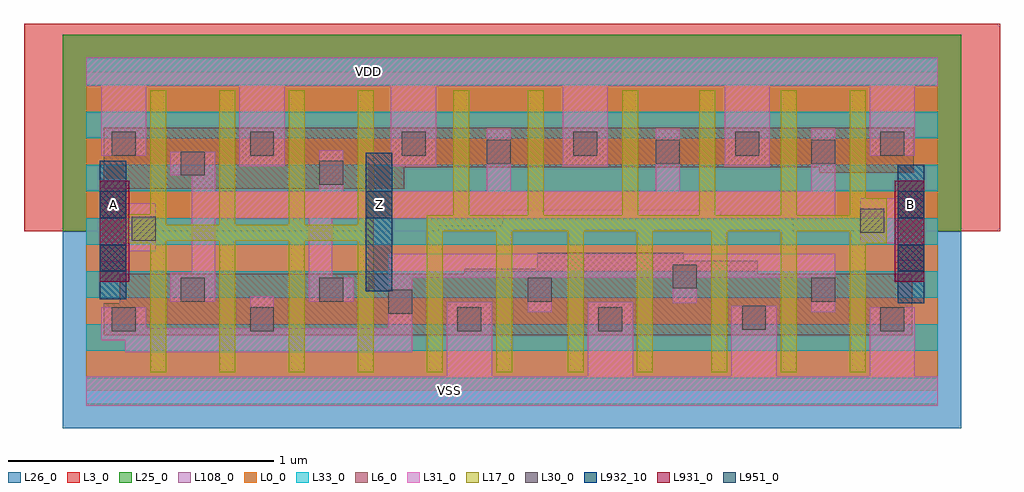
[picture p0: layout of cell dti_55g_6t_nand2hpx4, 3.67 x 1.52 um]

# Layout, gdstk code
from math import pi, radians
import gdstk
lib = gdstk.Library(unit=1e-6, precision=1e-09)
def R(c, l, rs):  # rectangles x0, y0, x1, y1
    for r in rs: c.add(gdstk.rectangle(r[:2], r[2:], *l))
def P(c, l, *ps):  # polygons
    for p in ps: c.add(gdstk.Polygon(p, *l))
L0_0 = (0, 0)
L3_0 = (3, 0)
L6_0 = (6, 0)
L17_0 = (17, 0)
L25_0 = (25, 0)
L26_0 = (26, 0)
L30_0 = (30, 0)
L31_0 = (31, 0)
L33_0 = (33, 0)
L108_0 = (108, 0)
L931_0 = (931, 0)
L932_10 = (932, 10)
L951_0 = (951, 0)
L982_1 = (982, 1)

via_std_block = lib.new_cell('via_std_block')
R(via_std_block, L951_0, [(-0.05,-0.05,0.05,0.05)])
via_std_block.add(gdstk.FlexPath([(-0.05,-0.05),(0.05,0.05)], 0, ends="flush", simple_path=True, layer=0, datatype=0))  # L0_0
via_std_block.add(gdstk.FlexPath([(0.05,-0.05),(-0.05,0.05)], 0, ends="flush", simple_path=True, layer=0, datatype=0))  # L0_0

via_std_block_edge_11 = lib.new_cell('via_std_block_edge_11')
R(via_std_block_edge_11, L931_0, [(-0.05,-0.09,0.06,0.29)])
r = gdstk.Reference(via_std_block, (0,0)); r.repetition = gdstk.Repetition(1, 2, v1=(0,0), v2=(0,0.2)); via_std_block_edge_11.add(r)

pmos_15_n_2 = lib.new_cell('pmos_15_n_2')
R(pmos_15_n_2, L3_0, [(-0.275,-0.16,0.335,0.31)])
R(pmos_15_n_2, L6_0, [(-0.115,0,0.175,0.15)])
R(pmos_15_n_2, L17_0, [(0,-0.14,0.06,0.29)])
R(pmos_15_n_2, L25_0, [(-0.245,-0.16,0.305,0.31)])

nmos_15_n_2 = lib.new_cell('nmos_15_n_2')
R(nmos_15_n_2, L6_0, [(-0.115,0,0.175,0.15)])
R(nmos_15_n_2, L17_0, [(0,-0.14,0.06,0.29)])
R(nmos_15_n_2, L26_0, [(-0.245,-0.16,0.305,0.31)])

cnt = lib.new_cell('cnt')
R(cnt, L30_0, [(-0.045,-0.045,0.045,0.045)])
R(cnt, L31_0, [(-0.045,-0.045,0.045,0.045)])

cnt_p = lib.new_cell('cnt_p')
R(cnt_p, L6_0, [(-0.06,-0.075,0.06,0.075)])
cnt_p.add(gdstk.Reference(cnt, (0,0)))

cnt_n = lib.new_cell('cnt_n')
R(cnt_n, L6_0, [(-0.06,-0.075,0.06,0.075)])
R(cnt_n, L30_0, [(-0.045,-0.045,0.045,0.045)])
R(cnt_n, L31_0, [(-0.045,-0.045,0.045,0.045)])

pcnt_h = lib.new_cell('pcnt_h')
R(pcnt_h, L17_0, [(-0.085,-0.055,0.085,0.055)])
pcnt_h.add(gdstk.Reference(cnt, (0,0), rotation=pi/2))

m2_std_block = lib.new_cell('m2_std_block')
R(m2_std_block, L932_10, [(0,0,0.1,0.52)])
m2_std_block.add(gdstk.FlexPath([(0.1,0.52),(0,0)], 0, ends="flush", simple_path=True, layer=982, datatype=1))  # L982_1
m2_std_block.add(gdstk.FlexPath([(0,0.52),(0.1,0)], 0, ends="flush", simple_path=True, layer=982, datatype=1))  # L982_1

cellgrid_withm3_updated_ = lib.new_cell('cellgrid_withM3_updated_June_13th')
R(cellgrid_withm3_updated_, L0_0, [(0,0,0.2,0.2)])
R(cellgrid_withm3_updated_, L33_0, [(0,-0.05,0.2,0.05), (0,0.15,0.2,0.25)])
cellgrid_withm3_updated_.add(gdstk.FlexPath([(0,0),(0.2,0.2),(0,0.2),(0.2,0)], 0, ends="flush", simple_path=True, layer=0, datatype=0))  # L0_0

template_6g_055_updated_ = lib.new_cell('template_6g_055_updated_June_13th')
R(template_6g_055_updated_, L31_0, [(0,-0.055,0.2,0.055), (0,1.145,0.2,1.255)])

dti_55g_6t_nand2hpx4 = lib.new_cell('dti_55g_6t_nand2hpx4')
P(dti_55g_6t_nand2hpx4, L3_0, [(-0.235,0.6),(-0.235,1.38),(3.435,1.38),(3.435,0.6),(2.655,0.6),(2.655,0.65),(2.385,0.65),(2.385,0.68),(1.565,0.68),(1.565,0.62),(1.325,0.62),(1.325,0.6)])
R(dti_55g_6t_nand2hpx4, L6_0, [(3.025,0.21,3.105,0.44), (1.42,0.29,1.71,0.44), (1.42,0.31,1.71,0.46), (0.065,0.76,0.16,0.99), (0.905,0.76,1.195,0.91), (3.025,0.82,3.11,0.99), (1.155,0.84,1.325,0.99), (1.475,0.84,1.655,0.99), (1.795,0.84,1.965,0.99), (2.115,0.84,2.285,0.99), (2.455,0.84,2.65,0.99)])
R(dti_55g_6t_nand2hpx4, L17_0, [(1.28,0.07,1.34,0.23), (1.54,0.17,1.6,0.6), (0.24,0.565,1.08,0.625), (1.02,0.62,1.08,1.05)])
P(dti_55g_6t_nand2hpx4, L17_0, [(2.87,0.49),(2.87,0.6),(2.67,0.6),(2.67,0.505),(2.61,0.505),(2.61,0.6),(2.41,0.6),(2.41,0.53),(2.35,0.53),(2.35,0.6),(1.34,0.6),(1.34,0.52),(1.28,0.52),(1.28,0.66),(1.38,0.66),(1.38,0.74),(1.44,0.74),(1.44,0.66),(1.66,0.66),(1.66,0.75),(1.72,0.75),(1.72,0.66),(2.015,0.66),(2.015,0.745),(2.075,0.745),(2.075,0.66),(2.305,0.66),(2.305,0.73),(2.365,0.73),(2.365,0.66),(2.61,0.66),(2.61,0.785),(2.67,0.785),(2.67,0.66),(2.87,0.66),(2.87,0.77),(2.93,0.77),(2.93,0.49)])
R(dti_55g_6t_nand2hpx4, L25_0, [(0.775,0.6,1.325,1.07)])
P(dti_55g_6t_nand2hpx4, L25_0, [(-0.09,0.6),(-0.09,1.34),(3.29,1.34),(3.29,0.6),(2.655,0.6),(2.655,0.65),(2.385,0.65),(2.385,0.68),(1.565,0.68),(1.565,0.62),(1.325,0.62),(1.325,0.6)])
P(dti_55g_6t_nand2hpx4, L26_0, [(-0.09,-0.14),(-0.09,0.6),(1.325,0.6),(1.325,0.62),(1.565,0.62),(1.565,0.68),(2.385,0.68),(2.385,0.65),(2.655,0.65),(2.655,0.6),(3.29,0.6),(3.29,-0.14)])
R(dti_55g_6t_nand2hpx4, L31_0, [(1.355,-0.01,1.525,0.335), (1.885,-0.01,2.055,0.335), (2.945,-0.01,3.115,0.315), (2.425,-0.005,2.595,0.32), (0.575,0.845,0.745,1.18), (1.145,0.845,1.315,1.185), (1.79,0.845,1.96,1.185), (2.4,0.845,2.57,1.185), (0.055,0.885,0.225,1.18), (2.945,0.885,3.115,1.185)])
P(dti_55g_6t_nand2hpx4, L31_0, [(3.04,0.49),(3.04,0.555),(2.91,0.555),(2.91,0.725),(3.15,0.725),(3.15,0.49)],
  [(0.315,0.335),(0.315,0.445),(0.395,0.445),(0.395,0.81),(0.315,0.81),(0.315,0.9),(0.485,0.9),(0.485,0.75),(0.875,0.75),(0.875,0.905),(0.965,0.905),(0.965,0.75),(1.505,0.75),(1.505,0.985),(1.595,0.985),(1.595,0.75),(2.14,0.75),(2.14,0.985),(2.23,0.985),(2.23,0.75),(2.725,0.75),(2.725,0.985),(2.815,0.985),(2.815,0.65),(0.925,0.65),(0.925,0.425),(1.005,0.425),(1.005,0.335),(0.835,0.335),(0.835,0.65),(0.485,0.65),(0.485,0.335)],
  [(0.145,0.145),(0.145,0.19),(0.055,0.19),(0.055,0.315),(0.225,0.315),(0.225,0.235),(0.615,0.235),(0.615,0.355),(0.705,0.355),(0.705,0.235),(1.135,0.235),(1.135,0.515),(2.815,0.515),(2.815,0.295),(2.725,0.295),(2.725,0.425),(2.295,0.425),(2.295,0.33),(2.205,0.33),(2.205,0.425),(1.75,0.425),(1.75,0.295),(1.66,0.295),(1.66,0.425),(1.225,0.425),(1.225,0.145)],
  [(0.05,0.485),(0.05,0.705),(0.26,0.705),(0.26,0.525),(0.16,0.525),(0.16,0.485)])
R(dti_55g_6t_nand2hpx4, L108_0, [(0,0,3.2,1.2)])
dti_55g_6t_nand2hpx4.add(gdstk.Reference(via_std_block_edge_11, (3.1,0.5), rotation=pi, x_reflection=True))
dti_55g_6t_nand2hpx4.add(gdstk.Reference(via_std_block_edge_11, (0.1,0.5)))
r = gdstk.Reference(pmos_15_n_2, (2.87,0.82)); r.repetition = gdstk.Repetition(1, 2, v1=(0,0), v2=(0,0.02)); dti_55g_6t_nand2hpx4.add(r)
dti_55g_6t_nand2hpx4.add(gdstk.Reference(nmos_15_n_2, (1.54,0.21)))
dti_55g_6t_nand2hpx4.add(gdstk.Reference(pmos_15_n_2, (1.38,0.84)))
dti_55g_6t_nand2hpx4.add(gdstk.Reference(nmos_15_n_2, (1.54,0.21)))
dti_55g_6t_nand2hpx4.add(gdstk.Reference(cnt_p, (3.03,0.93), rotation=3*pi/2))
dti_55g_6t_nand2hpx4.add(gdstk.Reference(cnt_n, (3.03,0.27), rotation=3*pi/2))
r = gdstk.Reference(nmos_15_n_2, (2.61,0.21)); r.repetition = gdstk.Repetition(2, 2, v1=(0.26,0), v2=(0,0.08)); dti_55g_6t_nand2hpx4.add(r)
dti_55g_6t_nand2hpx4.add(gdstk.Reference(pmos_15_n_2, (2.61,0.84)))
dti_55g_6t_nand2hpx4.add(gdstk.Reference(pmos_15_n_2, (1.02,0.84)))
r = gdstk.Reference(nmos_15_n_2, (2.35,0.21)); r.repetition = gdstk.Repetition(1, 2, v1=(0,0), v2=(0,0.13)); dti_55g_6t_nand2hpx4.add(r)
r = gdstk.Reference(nmos_15_n_2, (1.08,0.21), rotation=pi, x_reflection=True); r.repetition = gdstk.Repetition(4, 2, v1=(-0.26,0), v2=(0,0.08)); dti_55g_6t_nand2hpx4.add(r)
dti_55g_6t_nand2hpx4.add(gdstk.Reference(pmos_15_n_2, (1.66,0.84)))
dti_55g_6t_nand2hpx4.add(gdstk.Reference(pmos_15_n_2, (2.015,0.84)))
dti_55g_6t_nand2hpx4.add(gdstk.Reference(pmos_15_n_2, (2.305,0.84)))
dti_55g_6t_nand2hpx4.add(gdstk.Reference(cnt_n, (2.77,0.38), rotation=3*pi/2))
r = gdstk.Reference(nmos_15_n_2, (1.28,0.21)); r.repetition = gdstk.Repetition(1, 2, v1=(0,0), v2=(0,0.08)); dti_55g_6t_nand2hpx4.add(r)
dti_55g_6t_nand2hpx4.add(gdstk.Reference(cnt_p, (2.77,0.9), rotation=3*pi/2))
r = gdstk.Reference(nmos_15_n_2, (1.81,0.21)); r.repetition = gdstk.Repetition(2, 5, v1=(0.26,0), v2=(0,0.04)); dti_55g_6t_nand2hpx4.add(r)
dti_55g_6t_nand2hpx4.add(gdstk.Reference(pcnt_h, (2.955,0.64), rotation=3*pi/2))
dti_55g_6t_nand2hpx4.add(gdstk.Reference(cnt_n, (2.51,0.275), rotation=3*pi/2))
dti_55g_6t_nand2hpx4.add(gdstk.Reference(m2_std_block, (0.05,0.345)))
dti_55g_6t_nand2hpx4.add(gdstk.Reference(cnt_n, (0.14,0.27), rotation=pi/2))
dti_55g_6t_nand2hpx4.add(gdstk.Reference(cnt_n, (0.4,0.38), rotation=pi/2))
dti_55g_6t_nand2hpx4.add(gdstk.Reference(cnt_p, (0.14,0.93), rotation=3*pi/2))
dti_55g_6t_nand2hpx4.add(gdstk.Reference(cnt_p, (0.4,0.855), rotation=3*pi/2))
dti_55g_6t_nand2hpx4.add(gdstk.Reference(cnt_p, (2.485,0.93), rotation=pi/2))
dti_55g_6t_nand2hpx4.add(gdstk.Reference(cnt_p, (2.185,0.9), rotation=3*pi/2))
dti_55g_6t_nand2hpx4.add(gdstk.Reference(cnt_n, (0.92,0.38), rotation=pi/2))
dti_55g_6t_nand2hpx4.add(gdstk.Reference(cnt_p, (0.66,0.93), rotation=3*pi/2))
dti_55g_6t_nand2hpx4.add(gdstk.Reference(cnt_p, (1.875,0.93), rotation=3*pi/2))
dti_55g_6t_nand2hpx4.add(gdstk.Reference(cnt_n, (0.66,0.27), rotation=pi/2))
r = gdstk.Reference(nmos_15_n_2, (1.08,0.21), rotation=pi, x_reflection=True); r.repetition = gdstk.Repetition(4, 2, v1=(-0.26,0), v2=(0,0.08)); dti_55g_6t_nand2hpx4.add(r)
r = gdstk.Reference(pmos_15_n_2, (0.24,0.76)); r.repetition = gdstk.Repetition(3, 2, v1=(0.26,0), v2=(0,0.08)); dti_55g_6t_nand2hpx4.add(r)
dti_55g_6t_nand2hpx4.add(gdstk.Reference(cnt_n, (2.25,0.43), rotation=pi/2))
dti_55g_6t_nand2hpx4.add(gdstk.Reference(cnt_n, (1.97,0.27), rotation=3*pi/2))
dti_55g_6t_nand2hpx4.add(gdstk.Reference(m2_std_block, (3.05,0.33)))
dti_55g_6t_nand2hpx4.add(gdstk.Reference(m2_std_block, (1.05,0.375)))
dti_55g_6t_nand2hpx4.add(gdstk.Reference(via_std_block, (1.1,0.7)))
dti_55g_6t_nand2hpx4.add(gdstk.Reference(pcnt_h, (0.215,0.61), rotation=pi))
dti_55g_6t_nand2hpx4.add(gdstk.Reference(cnt_p, (1.23,0.93), rotation=3*pi/2))
dti_55g_6t_nand2hpx4.add(gdstk.Reference(cnt_p, (0.92,0.82), rotation=pi/2))
dti_55g_6t_nand2hpx4.add(gdstk.Reference(cnt_n, (1.18,0.335), rotation=pi/2))
dti_55g_6t_nand2hpx4.add(gdstk.Reference(cnt_p, (1.55,0.9), rotation=3*pi/2))
dti_55g_6t_nand2hpx4.add(gdstk.Reference(cnt_n, (1.705,0.38), rotation=3*pi/2))
dti_55g_6t_nand2hpx4.add(gdstk.Reference(cnt_n, (1.44,0.27), rotation=pi/2))
r = gdstk.Reference(cellgrid_withm3_updated_, (0,0)); r.repetition = gdstk.Repetition(16, 6, v1=(0.2,0), v2=(0,0.2)); dti_55g_6t_nand2hpx4.add(r)
r = gdstk.Reference(template_6g_055_updated_, (0,0)); r.repetition = gdstk.Repetition(16, 1, v1=(0.2,0), v2=(0,0)); dti_55g_6t_nand2hpx4.add(r)
dti_55g_6t_nand2hpx4.add(gdstk.Label('A', (0.1,0.7), layer=131, texttype=0))
dti_55g_6t_nand2hpx4.add(gdstk.Label('B', (3.1,0.7), layer=131, texttype=0))
dti_55g_6t_nand2hpx4.add(gdstk.Label('Z', (1.1,0.7), layer=131, texttype=0))
dti_55g_6t_nand2hpx4.add(gdstk.Label('VSS', (1.365,0), layer=131, texttype=0))
dti_55g_6t_nand2hpx4.add(gdstk.Label('VDD', (1.06,1.2), layer=131, texttype=0))

lib.write_gds('dti_55g_6t_nand2hpx4.gds')
